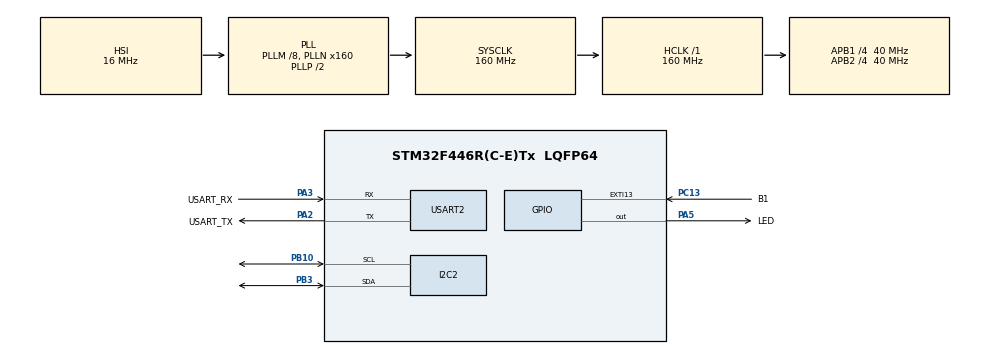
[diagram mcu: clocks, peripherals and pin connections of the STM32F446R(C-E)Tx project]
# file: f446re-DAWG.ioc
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Dma.Request0=USART2_RX
Dma.USART2_RX.0.Direction=DMA_PERIPH_TO_MEMORY
Dma.USART2_RX.0.FIFOMode=DMA_FIFOMODE_DISABLE
Dma.USART2_RX.0.Instance=DMA1_Stream5
Dma.USART2_RX.0.MemDataAlignment=DMA_MDATAALIGN_BYTE
Dma.USART2_RX.0.MemInc=DMA_MINC_ENABLE
Dma.USART2_RX.0.Mode=DMA_CIRCULAR
Dma.USART2_RX.0.PeriphDataAlignment=DMA_PDATAALIGN_BYTE
Dma.USART2_RX.0.PeriphInc=DMA_PINC_DISABLE
Dma.USART2_RX.0.Priority=DMA_PRIORITY_LOW
FREERTOS.Queues01=RX_queue,64,uint8_t,0,Dynamic,NULL,NULL
FREERTOS.Tasks01=heartbeat,24,128,heartbeatTask,Default,NULL,Dynamic,NULL,NULL;RX_USART,32,256,RX_decode_msg,Default,NULL,Dynamic,NULL,NULL
FREERTOS.configENABLE_FPU=1
Mcu.Family=STM32F4
Mcu.Name=STM32F446R(C-E)Tx
Mcu.Package=LQFP64
NVIC.DMA1_Stream5_IRQn=true\:5\:0\:false\:false\:true\:true\:false\:true\:true
NVIC.EXTI15_10_IRQn=true\:5\:0\:false\:false\:true\:true\:true\:true\:true
NVIC.PriorityGroup=NVIC_PRIORITYGROUP_4
NVIC.TIM6_DAC_IRQn=true\:15\:0\:false\:false\:true\:false\:false\:true\:true
NVIC.TimeBase=TIM6_DAC_IRQn
NVIC.TimeBaseIP=TIM6
NVIC.USART2_IRQn=true\:5\:0\:false\:false\:true\:true\:true\:true\:true
PA13.GPIO_Label=TMS
PA13.Mode=Serial_Wire
PA13.Signal=SYS_JTMS-SWDIO
PA14.GPIO_Label=TCK
PA14.Mode=Serial_Wire
PA14.Signal=SYS_JTCK-SWCLK
PA2.GPIO_Label=USART_TX
PA2.Mode=Asynchronous
PA2.Signal=USART2_TX
PA3.GPIO_Label=USART_RX
PA3.Mode=Asynchronous
PA3.Signal=USART2_RX
PA5.GPIO_Label=LED
PA5.Signal=GPIO_Output
PB10.Mode=I2C
PB10.Signal=I2C2_SCL
PB3.Mode=I2C
PB3.Signal=I2C2_SDA
PC13.GPIO_Label=B1
PC13.GPIO_ModeDefaultEXTI=GPIO_MODE_IT_FALLING
PC13.Signal=GPXTI13
PC14-OSC32_IN.Mode=LSE-External-Oscillator
PC14-OSC32_IN.Signal=RCC_OSC32_IN
PC15-OSC32_OUT.Mode=LSE-External-Oscillator
PC15-OSC32_OUT.Signal=RCC_OSC32_OUT
PH0-OSC_IN.Mode=HSE-External-Oscillator
PH0-OSC_IN.Signal=RCC_OSC_IN
PH1-OSC_OUT.Mode=HSE-External-Oscillator
PH1-OSC_OUT.Signal=RCC_OSC_OUT
ProjectManager.HeapSize=0x200
ProjectManager.StackSize=0x400
ProjectManager.TargetToolchain=STM32CubeIDE
RCC.48MHZClocksFreq_Value=84000000
RCC.AHBFreq_Value=160000000
RCC.APB1CLKDivider=RCC_HCLK_DIV4
RCC.APB1Freq_Value=40000000
RCC.APB1TimFreq_Value=80000000
RCC.APB2CLKDivider=RCC_HCLK_DIV4
RCC.APB2Freq_Value=40000000
RCC.APB2TimFreq_Value=80000000
RCC.CortexFreq_Value=160000000
RCC.FLatency-AdvancedSettings=FLASH_LATENCY_5
RCC.HCLKFreq_Value=160000000
RCC.HSE_VALUE=8000000
RCC.HSI_VALUE=16000000
RCC.PLLM=8
RCC.PLLN=160
RCC.SYSCLKFreq_VALUE=160000000
RCC.SYSCLKSource=RCC_SYSCLKSOURCE_PLLCLK
RCC.USBFreq_Value=160000000
RCC.VCOOutputFreq_Value=320000000
USART2.VirtualMode=VM_ASYNC
VP_FREERTOS_VS_CMSIS_V2.Mode=CMSIS_V2
VP_SYS_VS_tim6.Mode=TIM6
board=NUCLEO-F446RE

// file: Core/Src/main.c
/* USER CODE BEGIN Header */
/**
  ******************************************************************************
  * @file           : main.c
  * @brief          : Main program body
  ******************************************************************************
  * @attention
  *
  * Copyright (c) 2024 STMicroelectronics.
  * All rights reserved.
  *
  * This software is licensed under terms that can be found in the LICENSE file
  * in the root directory of this software component.
  * If no LICENSE file comes with this software, it is provided AS-IS.
  *
  ******************************************************************************
  */
/* USER CODE END Header */
#include "main.h"
#include "cmsis_os.h"

/* USER CODE BEGIN Includes */
#include "queue.h"
#include "pca9685.h"
/* USER CODE END Includes */

I2C_HandleTypeDef hi2c2;

UART_HandleTypeDef huart2;
DMA_HandleTypeDef hdma_usart2_rx;

/* Definitions for heartbeat */
osThreadId_t heartbeatHandle;
const osThreadAttr_t heartbeat_attributes = {
  .name = "heartbeat",
  .stack_size = 128 * 4,
  .priority = (osPriority_t) osPriorityNormal,
};
/* Definitions for RX_USART */
osThreadId_t RX_USARTHandle;
const osThreadAttr_t RX_USART_attributes = {
  .name = "RX_USART",
  .stack_size = 256 * 4,
  .priority = (osPriority_t) osPriorityAboveNormal,
};
/* Definitions for RX_queue */
osMessageQueueId_t RX_queueHandle;
const osMessageQueueAttr_t RX_queue_attributes = {
  .name = "RX_queue"
};

void SystemClock_Config(void);
static void MX_GPIO_Init(void);
static void MX_DMA_Init(void);
static void MX_USART2_UART_Init(void);
static void MX_I2C2_Init(void);
void heartbeatTask(void *argument);
void RX_decode_msg(void *argument);

/* USER CODE BEGIN PFP */
uint8_t USART_RX_BUFFER[1] = {0x00};
uint8_t CURR_BYTE = 0x00;

pca9685_handle_t handlePCA = {
    .i2c_handle = &hi2c2,
    .device_address = PCA9865_I2C_DEFAULT_DEVICE_ADDRESS,
    .inverted = false
};

uint8_t data[] = "BTN\n";

const int16_t PWM_MIN = 102;
const int16_t PWM_MAX = 512;
float degree_to_PWM = (float)(PWM_MAX - PWM_MIN)/ 180.0;

void writeServoVal(int channel, float angle)
{
	 int16_t toset = PWM_MIN + angle * degree_to_PWM;
	 pca9685_set_channel_pwm_times(&handlePCA, channel, 0, toset);
}

void blue_button_clicked()
{
	// HAL_UART_Transmit (&huart2, data, sizeof (data), 10);
	writeServoVal(15, 90.);
}

void HAL_GPIO_EXTI_Callback(uint16_t GPIO_Pin)
{
	if (GPIO_Pin == B1_Pin)
	{
		blue_button_clicked();
	}
}

void TransmitByte(uint8_t byte)
{
	HAL_UART_Transmit(&huart2, &byte, 1, 2000);
}

void TransmitMessage(uint8_t* msg, uint8_t size)
{
	HAL_UART_Transmit(&huart2, msg, size, 2000);
}

void HAL_UART_RxCpltCallback(UART_HandleTypeDef *huart)
{
	// HAL_GPIO_WritePin(LED_GPIO_Port, LED_Pin,1);
	BaseType_t xHigherPriorityTaskWoken;

	CURR_BYTE = USART_RX_BUFFER[0];
	int txStatus = xQueueSendToBackFromISR(RX_queueHandle, &CURR_BYTE, &xHigherPriorityTaskWoken);

	if (txStatus == 0)
	{
		// something went wrong
	}
	else
	{
		portEND_SWITCHING_ISR(xHigherPriorityTaskWoken);
	}

	// start polling again
    HAL_UART_Receive_DMA (&huart2, USART_RX_BUFFER, 1);
}

/* USER CODE END PFP */

int main(void)
{

  /* MCU Configuration--------------------------------------------------------*/

  /* Reset of all peripherals, Initializes the Flash interface and the Systick. */
  HAL_Init();

  /* USER CODE BEGIN Init */

  // Initialise driver (performs basic setup).

  /* USER CODE END Init */

  /* Configure the system clock */
  SystemClock_Config();

  /* Initialize all configured peripherals */
  MX_GPIO_Init();
  MX_DMA_Init();
  MX_USART2_UART_Init();
  MX_I2C2_Init();
  /* USER CODE BEGIN 2 */
  HAL_UART_Receive_DMA (&huart2, USART_RX_BUFFER, 1);

  pca9685_init(&handlePCA);
  pca9685_wakeup(&handlePCA);
  pca9685_set_pwm_frequency(&handlePCA, 50.0f);

  /* USER CODE END 2 */

  /* Init scheduler */
  osKernelInitialize();

  /* Create the queue(s) */
  /* creation of RX_queue */
  RX_queueHandle = osMessageQueueNew (64, sizeof(uint8_t), &RX_queue_attributes);

  /* Create the thread(s) */
  /* creation of heartbeat */
  heartbeatHandle = osThreadNew(heartbeatTask, NULL, &heartbeat_attributes);

  /* creation of RX_USART */
  RX_USARTHandle = osThreadNew(RX_decode_msg, NULL, &RX_USART_attributes);

  /* Start scheduler */
  osKernelStart();

  /* We should never get here as control is now taken by the scheduler */

  /* Infinite loop */
  while (1)
  {

  }
}

void SystemClock_Config(void)
{
  RCC_OscInitTypeDef RCC_OscInitStruct = {0};
  RCC_ClkInitTypeDef RCC_ClkInitStruct = {0};

  /** Configure the main internal regulator output voltage
  */
  __HAL_RCC_PWR_CLK_ENABLE();
  __HAL_PWR_VOLTAGESCALING_CONFIG(PWR_REGULATOR_VOLTAGE_SCALE1);

  /** Initializes the RCC Oscillators according to the specified parameters
  * in the RCC_OscInitTypeDef structure.
  */
  RCC_OscInitStruct.OscillatorType = RCC_OSCILLATORTYPE_HSI;
  RCC_OscInitStruct.HSIState = RCC_HSI_ON;
  RCC_OscInitStruct.HSICalibrationValue = RCC_HSICALIBRATION_DEFAULT;
  RCC_OscInitStruct.PLL.PLLState = RCC_PLL_ON;
  RCC_OscInitStruct.PLL.PLLSource = RCC_PLLSOURCE_HSI;
  RCC_OscInitStruct.PLL.PLLM = 8;
  RCC_OscInitStruct.PLL.PLLN = 160;
  RCC_OscInitStruct.PLL.PLLP = RCC_PLLP_DIV2;
  RCC_OscInitStruct.PLL.PLLQ = 2;
  RCC_OscInitStruct.PLL.PLLR = 2;
  if (HAL_RCC_OscConfig(&RCC_OscInitStruct) != HAL_OK)
  {
    Error_Handler();
  }

  /** Initializes the CPU, AHB and APB buses clocks
  */
  RCC_ClkInitStruct.ClockType = RCC_CLOCKTYPE_HCLK|RCC_CLOCKTYPE_SYSCLK
                              |RCC_CLOCKTYPE_PCLK1|RCC_CLOCKTYPE_PCLK2;
  RCC_ClkInitStruct.SYSCLKSource = RCC_SYSCLKSOURCE_PLLCLK;
  RCC_ClkInitStruct.AHBCLKDivider = RCC_SYSCLK_DIV1;
  RCC_ClkInitStruct.APB1CLKDivider = RCC_HCLK_DIV4;
  RCC_ClkInitStruct.APB2CLKDivider = RCC_HCLK_DIV4;

  if (HAL_RCC_ClockConfig(&RCC_ClkInitStruct, FLASH_LATENCY_5) != HAL_OK)
  {
    Error_Handler();
  }
}

static void MX_I2C2_Init(void)
{

  hi2c2.Instance = I2C2;
  hi2c2.Init.ClockSpeed = 100000;
  hi2c2.Init.DutyCycle = I2C_DUTYCYCLE_2;
  hi2c2.Init.OwnAddress1 = 0;
  hi2c2.Init.AddressingMode = I2C_ADDRESSINGMODE_7BIT;
  hi2c2.Init.DualAddressMode = I2C_DUALADDRESS_DISABLE;
  hi2c2.Init.OwnAddress2 = 0;
  hi2c2.Init.GeneralCallMode = I2C_GENERALCALL_DISABLE;
  hi2c2.Init.NoStretchMode = I2C_NOSTRETCH_DISABLE;
  if (HAL_I2C_Init(&hi2c2) != HAL_OK)
  {

    Error_Handler();
  }

}

static void MX_USART2_UART_Init(void)
{

  huart2.Instance = USART2;
  huart2.Init.BaudRate = 115200;
  huart2.Init.WordLength = UART_WORDLENGTH_8B;
  huart2.Init.StopBits = UART_STOPBITS_1;
  huart2.Init.Parity = UART_PARITY_NONE;
  huart2.Init.Mode = UART_MODE_TX_RX;
  huart2.Init.HwFlowCtl = UART_HWCONTROL_NONE;
  huart2.Init.OverSampling = UART_OVERSAMPLING_16;
  if (HAL_UART_Init(&huart2) != HAL_OK)
  {
    Error_Handler();
  }

}

static void MX_DMA_Init(void)
{

  /* DMA controller clock enable */
  __HAL_RCC_DMA1_CLK_ENABLE();

  /* DMA interrupt init */
  /* DMA1_Stream5_IRQn interrupt configuration */
  HAL_NVIC_SetPriority(DMA1_Stream5_IRQn, 5, 0);
  HAL_NVIC_EnableIRQ(DMA1_Stream5_IRQn);

}

static void MX_GPIO_Init(void)
{
  GPIO_InitTypeDef GPIO_InitStruct = {0};

  /* GPIO Ports Clock Enable */
  __HAL_RCC_GPIOC_CLK_ENABLE();
  __HAL_RCC_GPIOH_CLK_ENABLE();
  __HAL_RCC_GPIOA_CLK_ENABLE();
  __HAL_RCC_GPIOB_CLK_ENABLE();

  /*Configure GPIO pin Output Level */
  HAL_GPIO_WritePin(LED_GPIO_Port, LED_Pin, GPIO_PIN_RESET);

  /*Configure GPIO pin : B1_Pin */
  GPIO_InitStruct.Pin = B1_Pin;
  GPIO_InitStruct.Mode = GPIO_MODE_IT_FALLING;
  GPIO_InitStruct.Pull = GPIO_NOPULL;
  HAL_GPIO_Init(B1_GPIO_Port, &GPIO_InitStruct);

  /*Configure GPIO pin : LED_Pin */
  GPIO_InitStruct.Pin = LED_Pin;
  GPIO_InitStruct.Mode = GPIO_MODE_OUTPUT_PP;
  GPIO_InitStruct.Pull = GPIO_NOPULL;
  GPIO_InitStruct.Speed = GPIO_SPEED_FREQ_LOW;
  HAL_GPIO_Init(LED_GPIO_Port, &GPIO_InitStruct);

  /* EXTI interrupt init*/
  HAL_NVIC_SetPriority(EXTI15_10_IRQn, 5, 0);
  HAL_NVIC_EnableIRQ(EXTI15_10_IRQn);

}

void heartbeatTask(void *argument)
{
  /* USER CODE BEGIN 5 */
  /* Infinite loop */
  for(;;)
  {
	  //HAL_GPIO_TogglePin(LED_GPIO_Port, LED_Pin);
#ifdef HEARTBEAT_LED
	  HAL_GPIO_TogglePin(LED_GPIO_Port, LED_Pin);
#endif
	  //pca9685_init(&handlePCA);
	  //pca9685_set_pwm_frequency(&handlePCA, 50.0f);
	  //for (int i = 0; i < 16; ++i)
		//writeServoVal(i, 90.);

	  osDelay(100);
  }
  /* USER CODE END 5 */
}

void RX_decode_msg(void *argument)
{
  /* USER CODE BEGIN RX_decode_msg */
  /* Infinite loop */
	uint8_t rxStatus;
	uint8_t byte;

  for(;;)
  {
	rxStatus = xQueueReceive(RX_queueHandle, &byte, 50);
    if (rxStatus != 0)
    {
    	// decode byte
    	TransmitByte(byte);
    }
	osDelay(1);
  }
  /* USER CODE END RX_decode_msg */
}

void HAL_TIM_PeriodElapsedCallback(TIM_HandleTypeDef *htim)
{
  if (htim->Instance == TIM6) {
    HAL_IncTick();
  }
}

void Error_Handler(void)
{
  __disable_irq();
  while (1)
  {
  }
}
